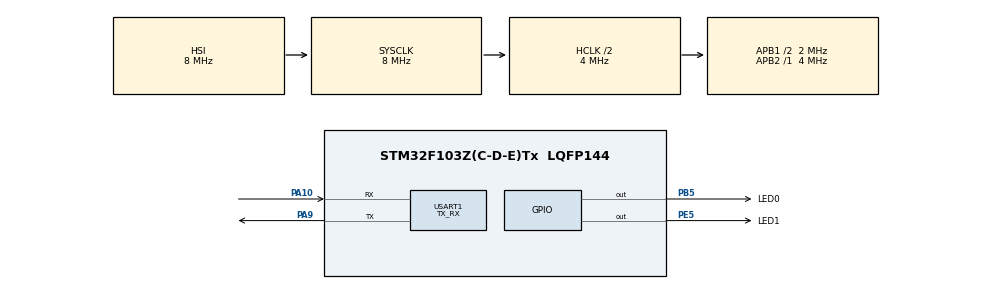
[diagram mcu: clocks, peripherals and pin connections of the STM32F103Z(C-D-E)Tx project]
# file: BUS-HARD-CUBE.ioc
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Mcu.Family=STM32F1
PB5.GPIO_ModeDefaultOutputPP=GPIO_MODE_OUTPUT_PP
Dma.USART1_TX.1.Instance=DMA1_Channel4
NVIC.DMA1_Channel5_IRQn=true\:0\:0\:false\:false\:true\:false\:true
Dma.USART1_RX.0.PeriphDataAlignment=DMA_PDATAALIGN_BYTE
PA10.Mode=Asynchronous
Dma.USART1_TX.1.MemInc=DMA_MINC_ENABLE
RCC.APB1CLKDivider=RCC_HCLK_DIV2
ProjectManager.StackSize=0x400
PA13.Signal=SYS_JTMS-SWDIO
PA9.Mode=Asynchronous
PE5.GPIO_PuPd=GPIO_PULLDOWN
ProjectManager.TargetToolchain=STM32CubeIDE
Dma.USART1_RX.0.Direction=DMA_PERIPH_TO_MEMORY
RCC.HCLKFreq_Value=4000000
RCC.APB2TimFreq_Value=4000000
PA9.Signal=USART1_TX
OSC_IN.Signal=RCC_OSC_IN
PE5.Signal=GPIO_Output
RCC.USBFreq_Value=8000000
OSC_OUT.Mode=HSE-External-Oscillator
OSC_OUT.Signal=RCC_OSC_OUT
RCC.AHBFreq_Value=4000000
Dma.USART1_RX.0.PeriphInc=DMA_PINC_DISABLE
Dma.USART1_RX.0.Priority=DMA_PRIORITY_HIGH
Dma.USART1_TX.1.MemDataAlignment=DMA_MDATAALIGN_BYTE
board=custom
RCC.APB2Freq_Value=4000000
USART1.Mode=MODE_TX_RX
PA14.Mode=Serial_Wire
Dma.USART1_RX.0.MemDataAlignment=DMA_MDATAALIGN_BYTE
RCC.AHBCLKDivider=RCC_SYSCLK_DIV2
Dma.USART1_RX.0.MemInc=DMA_MINC_ENABLE
PA13.Mode=Serial_Wire
Mcu.Name=STM32F103Z(C-D-E)Tx
Dma.USART1_TX.1.PeriphDataAlignment=DMA_PDATAALIGN_BYTE
RCC.SYSCLKFreq_VALUE=8000000
Mcu.Package=LQFP144
PB5.Signal=GPIO_Output
OSC_IN.Mode=HSE-External-Oscillator
PB5.GPIO_PuPd=GPIO_PULLDOWN
Dma.USART1_TX.1.Mode=DMA_NORMAL
PE5.GPIO_Label=LED1
USART1.VirtualMode=VM_ASYNC
PA10.Signal=USART1_RX
PA14.Signal=SYS_JTCK-SWCLK
ProjectManager.HeapSize=0x200
Dma.USART1_TX.1.PeriphInc=DMA_PINC_DISABLE
PB5.GPIO_Speed=GPIO_SPEED_FREQ_LOW
NVIC.PriorityGroup=NVIC_PRIORITYGROUP_2
PB5.GPIO_Label=LED0
PE5.GPIO_Speed=GPIO_SPEED_FREQ_LOW
Dma.Request1=USART1_TX
RCC.APB1TimFreq_Value=4000000
Dma.USART1_RX.0.Mode=DMA_NORMAL
Dma.USART1_TX.1.Priority=DMA_PRIORITY_MEDIUM
NVIC.DMA1_Channel4_IRQn=true\:0\:1\:false\:false\:true\:false\:true
NVIC.USART1_IRQn=true\:0\:0\:false\:false\:true\:true\:true
Dma.Request0=USART1_RX
RCC.APB1Freq_Value=2000000
Dma.USART1_RX.0.Instance=DMA1_Channel5
NVIC.RCC_IRQn=true\:0\:0\:false\:false\:true\:true\:false
Dma.USART1_TX.1.Direction=DMA_MEMORY_TO_PERIPH

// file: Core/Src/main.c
/* USER CODE BEGIN Header */
/**
  ******************************************************************************
  * @file           : main.c
  * @brief          : Main program body
  ******************************************************************************
  * @attention
  *
  * <h2><center>&copy; Copyright (c) 2021 STMicroelectronics.
  * All rights reserved.</center></h2>
  *
  * This software component is licensed by ST under BSD 3-Clause license,
  * the "License"; You may not use this file except in compliance with the
  * License. You may obtain a copy of the License at:
  *                        opensource.org/licenses/BSD-3-Clause
  *
  ******************************************************************************
  */
/* USER CODE END Header */
#include "main.h"

/* USER CODE BEGIN Includes */
#include "math.h"
#include "stdlib.h"
#include "stdio.h"
#include "string.h"
/* USER CODE END Includes */

/* USER CODE BEGIN PTD */

typedef enum {false = 0,true = 1} bool;

//GNSS NMEA-0183协议重要参数结构体定�????????????
//卫星信息
typedef struct
{
 	uint8_t num;		//卫星编号
	uint8_t eledeg;	//卫星仰角
	uint16_t azideg;	//卫星方位角
	uint8_t sn;		//信噪比
}nmea_slmsg;

//UTC时间信息
typedef struct
{
 	uint16_t year;	//年份
	uint8_t month;	//月份
	uint8_t date;	//日期
	uint8_t hour; 	//小时
	uint8_t min; 	//分钟
	uint8_t sec; 	//秒钟
}nmea_utc_time;

//NMEA 0183 协议解析后数据存放结构体
typedef struct
{
 	uint8_t svnum;					//可见卫星数
	nmea_slmsg slmsg[12];		//最多12颗卫星
	nmea_utc_time utc;			//UTC时间
	uint32_t latitude;				//纬度 分扩大100000倍,实际要除以100000
	uint8_t nshemi;					//北纬/南纬,N:北纬;S:南纬
	uint32_t longitude;			    //经度 分扩大100000倍,实际要除以100000
	uint8_t ewhemi;					//东经/西经,E:东经;W:西经
	uint8_t gnsssta;					//GPS状态:0,未定位;1,非差分定位;2,差分定位;6,正在估算.
 	uint8_t posslnum;				//用于定位的卫星数,0~12.
 	uint8_t possl[12];				//用于定位的卫星编号
	uint8_t fixmode;					//定位类型:1,没有定位;2,2D定位;3,3D定位
	uint16_t pdop;					//位置精度因子 0~500,对应实际值0~50.0
	uint16_t hdop;					//水平精度因子 0~500,对应实际值0~50.0
	uint16_t vdop;					//垂直精度因子 0~500,对应实际值0~50.0

	int altitude;			 	//海拔高度,放大了10倍,实际除以10.单位:0.1m
	uint16_t speed;					//地面速率,放大了1000倍,实际除以10.单位:0.001公里/小时
}nmea_msg;

/* USER CODE END PTD */

/* USER CODE BEGIN PD */
#define USART_REC_LEN  			1200  	//定义�??????大接收字节数 1200
/* USER CODE END PD */

UART_HandleTypeDef huart1;
DMA_HandleTypeDef hdma_usart1_rx;
DMA_HandleTypeDef hdma_usart1_tx;

/* USER CODE BEGIN PV */
uint8_t USART_RX_BUF[USART_REC_LEN];     //接收缓冲,�??????大USART_REC_LEN个字�??????.

double pi = 3.14159265358979324;
double a = 6378245.0;
double ee = 0.00669342162296594323;
double x_pi = 3.14159265358979324 * 3000.0 / 180;
int iter = 0;

char n58_sdata[100] = {0};
char n58_sdataLAS[100] = {0};
double InLat=0.0;
double InLon=0.0;
double OutLat=0.0;
double OutLon=0.0;
float Speed;

unsigned short i =0;
unsigned char r =0;

nmea_msg gnssx; //GNSS�????????????
int firstgo=0;
int firstgnss=0;
uint8_t Time1;
uint8_t Time2;
int ret = -1;
/* USER CODE END PV */

void SystemClock_Config(void);
static void MX_GPIO_Init(void);
static void MX_DMA_Init(void);
static void MX_USART1_UART_Init(void);
/* USER CODE BEGIN PFP */
uint8_t NMEA_Comma_Pos(uint8_t *buf,uint8_t cx);
uint32_t NMEA_Pow(uint8_t m,uint8_t n);
int NMEA_Str2num(uint8_t *buf,uint8_t*dx);
void NMEA_GNGSV_Analysis(nmea_msg *gnssx,uint8_t *buf);
void NMEA_GNGGA_Analysis(nmea_msg *gnssx,uint8_t *buf);
void NMEA_GNGSA_Analysis(nmea_msg *gnssx,uint8_t *buf);
void NMEA_GNRMC_Analysis(nmea_msg *gnssx,uint8_t *buf);
void NMEA_GNVTG_Analysis(nmea_msg *gnssx,uint8_t *buf);
void GNSS_Analysis(nmea_msg *gnssx,uint8_t *buf);
void Ublox_CheckSum(uint8_t *buf,uint16_t len,uint8_t* cka,uint8_t*ckb);
int outOfChina(double lat, double lon);
double transformLat(double x, double y);
double transformLon(double x, double y);
int wgs2gcj(double lat, double lon, double* pLat, double* pLon);
int n58_normal_check(char *in_cmd);
int n58_check_sim_card();
int n58_check_cgatt();
int n58_check_creg();
int n58_check_xiic();

/* USER CODE END PFP */

int main(void)
{

  /* MCU Configuration--------------------------------------------------------*/

  /* Reset of all peripherals, Initializes the Flash interface and the Systick. */
  HAL_Init();

  /* Configure the system clock */
  SystemClock_Config();

  /* Initialize all configured peripherals */
  MX_GPIO_Init();
  MX_DMA_Init();
  MX_USART1_UART_Init();
  /* USER CODE BEGIN 2 */
  HAL_UART_Receive_DMA(&huart1,USART_RX_BUF, sizeof(USART_RX_BUF));
  HAL_GPIO_WritePin(GPIOB,GPIO_PIN_5,GPIO_PIN_SET);
  HAL_Delay(10000);
  HAL_GPIO_WritePin(GPIOB,GPIO_PIN_5,GPIO_PIN_RESET);

  first:
  	  firstgo=0;
  	if(firstgo!=0){
  			HAL_Delay(500);

  			n58_normal_check("AT+XIIC=0\r\n");

  			HAL_Delay(500);

  			n58_normal_check("AT+CGATT=0\r\n");
  	}
  	firstgo=1;
  	iter = 0;
      while(iter++ <10) {
          ret = n58_normal_check("AT\r\n");
          if(ret == 0) {
              break;
          }
          HAL_Delay(200);
      }
      if(ret == -1) {
          goto first ;
      }
      HAL_Delay(150);

      iter = 0;
      while(iter++ <10) {
          ret = n58_normal_check("ATE0\r\n");
          if(ret == 0) {
              break;
          }
          HAL_Delay(200);
      }
      if(ret == -1) {
          goto first ;
      }
      HAL_Delay(150);

      iter = 0;
      while(iter++ <10) {
          ret = n58_normal_check("AT+CGSN\r\n");
          if(ret == 0) {
              break;
          }
          HAL_Delay(10);
      }
      if(ret == -1) {
          goto first ;
      }
      HAL_Delay(150);

      iter = 0;
      while(iter++ <10) {
          ret = n58_check_sim_card();
          if(ret == 0) {
              break;
          }
          HAL_Delay(200);
      }
      if(ret == -1) {
          goto first;
      }
      HAL_Delay(150);

      iter = 0;
      while(iter++ <10) {
          ret = n58_normal_check("AT+CIMI\r\n");
          if(ret == 0) {
              break;
          }
          HAL_Delay(200);
      }
      if(ret == -1) {
          goto first ;
      }
      HAL_Delay(150);

      iter = 0;
      while(iter++ <10) {
          ret = n58_normal_check("AT+CREG=2\r\n");
          if(ret == 0) {
              break;
          }
          HAL_Delay(200);
      }
      if(ret == -1) {
          goto first ;
      }
      HAL_Delay(150);

      iter = 0;
      while(iter++ <10) {
          ret = n58_check_creg();
          if(ret == 0) {
              break;
          }
          HAL_Delay(200);
      }
      if(ret == -1) {
          goto first ;
      }

      HAL_Delay(150);
      iter = 0;
      while(iter++ <10) {
          ret = n58_normal_check("AT+CREG=0\r\n");
          if(ret == 0) {
              break;
          }
          HAL_Delay(200);
      }
      if(ret == -1) {
          goto first ;
      }
      HAL_Delay(150);

      iter = 0;
      while(iter++ <10) {
          ret = n58_normal_check("AT+CGATT=1\r\n");
          if(ret == 0) {
              break;
          }
          HAL_Delay(200);
      }
      if(ret == -1) {
          goto first ;
      }
      HAL_Delay(150);

      iter = 0;
      while(iter++ <10) {
          ret = n58_check_cgatt();
          if(ret == 0) {
              break;
          }
          HAL_Delay(200);
      }
      if(ret == -1) {
          goto first;
      }
      HAL_Delay(150);

      iter = 0;
      while(iter++ <10) {
          ret = n58_normal_check("AT+CGDCONT=1,\"IP\", \"CMIOT\"\r\n");
          if(ret == 0) {
              break;
          }
          HAL_Delay(200);
      }
      if(ret == -1) {
          goto first ;
      }
      HAL_Delay(150);

      iter = 0;
      while(iter++ <10) {
          ret = n58_normal_check("AT+XIIC=1\r\n");
          if(ret == 0) {
              break;
          }
          HAL_Delay(200);
      }
      if(ret == -1) {
          goto first ;
      }
      HAL_Delay(150);

      iter = 0;
      while(iter++ <100) {
          ret = n58_check_xiic();
          if(ret == 0) {
              break;
          }
          HAL_Delay(200);
      }

      if(ret == -1) {
          goto first ;
      }

      HAL_Delay(150);
      iter = 0;
      while(iter++ <10) {
          ret = n58_normal_check("AT+HTTPSCFG=\"sslversion\",3\r\n");
          if(ret == 0) {
              break;
          }
          HAL_Delay(200);
      }
      if(ret == -1) {
          goto first ;
      }

      HAL_Delay(150);
      iter = 0;
      while(iter++ <10) {
          ret = n58_normal_check("AT+HTTPSCFG =\"authmode\",0\r\n");
          if(ret == 0) {
              break;
          }
          HAL_Delay(200);
      }
      if(ret == -1) {
          goto first ;
      }

  		HAL_Delay(150);
      iter = 0;
      while(iter++ <10) {
          ret = n58_normal_check("AT$MYGPSPWR=1\r\n");
          if(ret == 0) {
              break;
          }
          HAL_Delay(1000);
      }
      if(ret == -1) {
          goto first ;
      }
  	HAL_Delay(150);

    iter = 0;
    while(iter++ <10) {
        ret = n58_normal_check("AT$MYGNSSSEL=0\r\n");
        if(ret == 0) {
            break;
        }
        HAL_Delay(200);
    }
    if(ret == -1) {
        goto first;
    }
  	HAL_Delay(150);

      iter = 0;
      while(iter++ <10) {
          ret = n58_normal_check("AT+HTTPSPARA=url,\"bus.bitworkshop.cn/bus/position\"\r\n");
          if(ret == 0) {
              break;
          }
          HAL_Delay(200);
      }
      if(ret == -1) {
          goto first ;
      }
      HAL_GPIO_WritePin(GPIOB,GPIO_PIN_5,GPIO_PIN_SET);
  /* USER CODE END 2 */

  /* Infinite loop */
  while (1)
  {

    /* USER CODE BEGIN 3 */

	  		HAL_GPIO_WritePin(GPIOE,GPIO_PIN_5,GPIO_PIN_RESET);
	  			GNSSopen:
				HAL_Delay(1000);
	  			memset(USART_RX_BUF, 0, sizeof(USART_RX_BUF));
	  		    HAL_UART_DMAStop(&huart1);
	  		    HAL_UART_Receive_DMA(&huart1,USART_RX_BUF, sizeof(USART_RX_BUF));
	  			strcpy((char *)n58_sdata,"AT$MYGNSSMSG\r\n");
	  			HAL_UART_Transmit_DMA(&huart1, (uint8_t*)n58_sdata,strlen(n58_sdata));//发�??
	  			HAL_Delay(1000);
	  			GNSS_Analysis(&gnssx,USART_RX_BUF);//GNSS分析
	  			Speed=gnssx.speed;								//速度
	  			InLon=gnssx.longitude;
	  			InLat=gnssx.latitude;			//经纬
	  			wgs2gcj(InLat/100000,InLon/100000, &OutLat,&OutLon);  //坐标系转�??????
	  			if(OutLat==0.0||OutLon==0.0)
	  					{ firstgnss=1;goto GNSSopen;}

	  			HAL_GPIO_WritePin(GPIOE,GPIO_PIN_5,GPIO_PIN_SET);
	  			HAL_Delay (100);
	  			i=0;
	  			memset(n58_sdata, 0, sizeof(n58_sdata));
	  			strcpy((char *)n58_sdata,"AT+HTTPSCLOSE\r\n");
	  			HAL_UART_Transmit_DMA(&huart1, (uint8_t*)n58_sdata,strlen(n58_sdata));//�??????

	  			memset(USART_RX_BUF, 0, sizeof(USART_RX_BUF));
	  		    HAL_UART_DMAStop(&huart1);
	  		    HAL_UART_Receive_DMA(&huart1,USART_RX_BUF, sizeof(USART_RX_BUF));

	  		    memset(n58_sdata, 0, sizeof(n58_sdata));
	  			strcpy((char *)n58_sdata,"AT+HTTPSSETUP\r\n");
	  			HAL_UART_Transmit_DMA(&huart1, (uint8_t*)n58_sdata,strlen(n58_sdata));//�??????

	  			SETUP:

	  					if(i<500)
	  						{
	  							HAL_Delay (10);
	  							if(!strstr((char*)USART_RX_BUF, "OK"))
	  							{
	  								i++;
	  								goto SETUP;
	  							}
	  							else{i=0;goto next;	}
	  						}

	  				else
	  				{
	  					i=0;
	  					memset(USART_RX_BUF, 0, sizeof(USART_RX_BUF));
	  				    HAL_UART_DMAStop(&huart1);
	  				    HAL_UART_Receive_DMA(&huart1,USART_RX_BUF, sizeof(USART_RX_BUF));
	  		  			strcpy((char *)n58_sdata,"AT+HTTPSCLOSE\r\n");
	  		  			HAL_UART_Transmit_DMA(&huart1, (uint8_t*)n58_sdata,strlen(n58_sdata));//�??????
	  					goto first;
	  				}

	  				next:

	  					HAL_Delay (300);
	  				memset(n58_sdataLAS, 0, sizeof(n58_sdataLAS));
	  				sprintf((char *)n58_sdataLAS,"{\"i\":\"606c7c1a25985565e23f18a7\",\"p\":{\"la\":%.6f,\"lo\":%.6f},\"s\":%.2f}\r\n",OutLat,OutLon,Speed/=1000);//OutLat,OutLon  InLatb/100000,InLonb/100000

	  				memset(n58_sdata, 0, sizeof(n58_sdata));
	  				sprintf((char *)n58_sdata,"AT+HTTPSACTION=2,%d,2\r\n",strlen(n58_sdataLAS)-2);//OutLat,OutLon  InLatb/100000,InLonb/100000

	  				memset(USART_RX_BUF, 0, sizeof(USART_RX_BUF));
	  			    HAL_UART_DMAStop(&huart1);
	  			    HAL_UART_Receive_DMA(&huart1,USART_RX_BUF, sizeof(USART_RX_BUF));
	  				HAL_UART_Transmit_DMA(&huart1, (uint8_t*)n58_sdata,strlen(n58_sdata));//发�??
	  				//user_send_data(n58_sdata);//发�?�请�????????????2
	  				HAL_Delay (100);
	  				SETUP2:

  					if(i<100)
  						{
  							HAL_Delay (10);

  							if(!strstr((char*)USART_RX_BUF, ">"))
  							{
  								i++;

  								goto SETUP2;
  							}
  							else{i=0;goto next2;}
  						}

  					else
  					{
  						i=0;
  						memset(USART_RX_BUF, 0, sizeof(USART_RX_BUF));
  					    HAL_UART_DMAStop(&huart1);
  					    HAL_UART_Receive_DMA(&huart1,USART_RX_BUF, sizeof(USART_RX_BUF));
  			  			strcpy((char *)n58_sdata,"AT+HTTPSCLOSE\r\n");
  			  			HAL_UART_Transmit_DMA(&huart1, (uint8_t*)n58_sdata,strlen(n58_sdata));//�??????
  						goto first;
  					}
  					next2:
	  				memset(USART_RX_BUF, 0, sizeof(USART_RX_BUF));
	  			    HAL_UART_DMAStop(&huart1);
	  			    HAL_UART_Receive_DMA(&huart1,USART_RX_BUF, sizeof(USART_RX_BUF));
		  			HAL_UART_Transmit_DMA(&huart1, (uint8_t*)n58_sdataLAS,strlen(n58_sdataLAS));//�??????

	  				HAL_Delay (100);
	  				memset(USART_RX_BUF, 0, sizeof(USART_RX_BUF));
	  			    HAL_UART_DMAStop(&huart1);
	  			    HAL_UART_Receive_DMA(&huart1,USART_RX_BUF, sizeof(USART_RX_BUF));

  }
  /* USER CODE END 3 */
}

void SystemClock_Config(void)
{
  RCC_OscInitTypeDef RCC_OscInitStruct = {0};
  RCC_ClkInitTypeDef RCC_ClkInitStruct = {0};

  /** Initializes the RCC Oscillators according to the specified parameters
  * in the RCC_OscInitTypeDef structure.
  */
  RCC_OscInitStruct.OscillatorType = RCC_OSCILLATORTYPE_HSI;
  RCC_OscInitStruct.HSIState = RCC_HSI_ON;
  RCC_OscInitStruct.HSICalibrationValue = RCC_HSICALIBRATION_DEFAULT;
  RCC_OscInitStruct.PLL.PLLState = RCC_PLL_NONE;
  if (HAL_RCC_OscConfig(&RCC_OscInitStruct) != HAL_OK)
  {
    Error_Handler();
  }
  /** Initializes the CPU, AHB and APB buses clocks
  */
  RCC_ClkInitStruct.ClockType = RCC_CLOCKTYPE_HCLK|RCC_CLOCKTYPE_SYSCLK
                              |RCC_CLOCKTYPE_PCLK1|RCC_CLOCKTYPE_PCLK2;
  RCC_ClkInitStruct.SYSCLKSource = RCC_SYSCLKSOURCE_HSI;
  RCC_ClkInitStruct.AHBCLKDivider = RCC_SYSCLK_DIV2;
  RCC_ClkInitStruct.APB1CLKDivider = RCC_HCLK_DIV2;
  RCC_ClkInitStruct.APB2CLKDivider = RCC_HCLK_DIV1;

  if (HAL_RCC_ClockConfig(&RCC_ClkInitStruct, FLASH_LATENCY_0) != HAL_OK)
  {
    Error_Handler();
  }
}

static void MX_USART1_UART_Init(void)
{

  huart1.Instance = USART1;
  huart1.Init.BaudRate = 115200;
  huart1.Init.WordLength = UART_WORDLENGTH_8B;
  huart1.Init.StopBits = UART_STOPBITS_1;
  huart1.Init.Parity = UART_PARITY_NONE;
  huart1.Init.Mode = UART_MODE_TX_RX;
  huart1.Init.HwFlowCtl = UART_HWCONTROL_NONE;
  huart1.Init.OverSampling = UART_OVERSAMPLING_16;
  if (HAL_UART_Init(&huart1) != HAL_OK)
  {
    Error_Handler();
  }

}

static void MX_DMA_Init(void)
{

  /* DMA controller clock enable */
  __HAL_RCC_DMA1_CLK_ENABLE();

  /* DMA interrupt init */
  /* DMA1_Channel4_IRQn interrupt configuration */
  HAL_NVIC_SetPriority(DMA1_Channel4_IRQn, 0, 1);
  HAL_NVIC_EnableIRQ(DMA1_Channel4_IRQn);
  /* DMA1_Channel5_IRQn interrupt configuration */
  HAL_NVIC_SetPriority(DMA1_Channel5_IRQn, 0, 0);
  HAL_NVIC_EnableIRQ(DMA1_Channel5_IRQn);

}

static void MX_GPIO_Init(void)
{
  GPIO_InitTypeDef GPIO_InitStruct = {0};

  /* GPIO Ports Clock Enable */
  __HAL_RCC_GPIOE_CLK_ENABLE();
  __HAL_RCC_GPIOA_CLK_ENABLE();
  __HAL_RCC_GPIOB_CLK_ENABLE();

  /*Configure GPIO pin Output Level */
  HAL_GPIO_WritePin(LED1_GPIO_Port, LED1_Pin, GPIO_PIN_RESET);

  /*Configure GPIO pin Output Level */
  HAL_GPIO_WritePin(LED0_GPIO_Port, LED0_Pin, GPIO_PIN_RESET);

  /*Configure GPIO pin : LED1_Pin */
  GPIO_InitStruct.Pin = LED1_Pin;
  GPIO_InitStruct.Mode = GPIO_MODE_OUTPUT_PP;
  GPIO_InitStruct.Pull = GPIO_PULLDOWN;
  GPIO_InitStruct.Speed = GPIO_SPEED_FREQ_LOW;
  HAL_GPIO_Init(LED1_GPIO_Port, &GPIO_InitStruct);

  /*Configure GPIO pin : LED0_Pin */
  GPIO_InitStruct.Pin = LED0_Pin;
  GPIO_InitStruct.Mode = GPIO_MODE_OUTPUT_PP;
  GPIO_InitStruct.Pull = GPIO_PULLDOWN;
  GPIO_InitStruct.Speed = GPIO_SPEED_FREQ_LOW;
  HAL_GPIO_Init(LED0_GPIO_Port, &GPIO_InitStruct);

}

/* USER CODE BEGIN 4 */

uint8_t NMEA_Comma_Pos(uint8_t *buf,uint8_t cx)
{
	uint8_t *p=buf;
	while(cx)
	{
		if(*buf=='*'||*buf<' '||*buf>'z')return 0XFF;//遇到'*'或者非法字符,则不存在第cx个逗号
		if(*buf==',')cx--;
		buf++;
	}
	return buf-p;
}

//m^n函数
//返回�????????????:m^n次方.
uint32_t NMEA_Pow(uint8_t m,uint8_t n)
{
	uint32_t result=1;
	while(n--)result*=m;
	return result;
}

//str转换为数�????????????,�????????????','或�??'*'结束
//buf:数字存储�????????????
//dx:小数点位�????????????,返回给调用函�????????????
//返回�????????????:转换后的数�??
int NMEA_Str2num(uint8_t *buf,uint8_t*dx)
{
	uint8_t *p=buf;
	uint32_t ires=0,fres=0;
	uint8_t ilen=0,flen=0,i;
	uint8_t mask=0;
	int res;
	while(1) //得到整数和小数的长度
	{
		if(*p=='-'){mask|=0X02;p++;}//是负�????????????
		if(*p==','||(*p=='*'))break;//遇到结束�????????????
		if(*p=='.'){mask|=0X01;p++;}//遇到小数点了
		else if(*p>'9'||(*p<'0'))	//有非法字�????????????
		{
			ilen=0;
			flen=0;
			break;
		}
		if(mask&0X01)flen++;
		else ilen++;
		p++;
	}
	if(mask&0X02)buf++;	//去掉负号
	for(i=0;i<ilen;i++)	//得到整数部分数据
	{
		ires+=NMEA_Pow(10,ilen-1-i)*(buf[i]-'0');
	}
	if(flen>8)flen=8;	//�????????????多取8位小�????????????
	*dx=flen;	 		//小数点位�????????????
	for(i=0;i<flen;i++)	//得到小数部分数据
	{
		fres+=NMEA_Pow(10,flen-1-i)*(buf[ilen+1+i]-'0');
	}
	res=ires*NMEA_Pow(10,flen)+fres;
	if(mask&0X02)res=-res;
	return res;
}

//分析GNGSV信息
//gnssx:nmea信息结构�????????????
//buf:接收到的GNSS数据缓冲区首地址
void NMEA_GNGSV_Analysis(nmea_msg *gnssx,uint8_t *buf)
{
	uint8_t *p,*p1,dx;
	uint8_t len,i,j,slx=0;
	uint8_t posx;
	p=buf;
	p1=(uint8_t*)strstr((const char *)p,"&GPGSV");
	len=p1[7]-'0';								//得到GPGSV的条数
	posx=NMEA_Comma_Pos(p1,3); 					//得到可见卫星总数
	if(posx!=0XFF)gnssx->svnum=NMEA_Str2num(p1+posx,&dx);
	for(i=0;i<len;i++)
	{
		p1=(uint8_t*)strstr((const char *)p,"&GPGSV");
		for(j=0;j<4;j++)
		{
			posx=NMEA_Comma_Pos(p1,4+j*4);
			if(posx!=0XFF)gnssx->slmsg[slx].num=NMEA_Str2num(p1+posx,&dx);	//得到卫星编号
			else break;
			posx=NMEA_Comma_Pos(p1,5+j*4);
			if(posx!=0XFF)gnssx->slmsg[slx].eledeg=NMEA_Str2num(p1+posx,&dx);//得到到卫星仰角
			else break;
			posx=NMEA_Comma_Pos(p1,6+j*4);
			if(posx!=0XFF)gnssx->slmsg[slx].azideg=NMEA_Str2num(p1+posx,&dx);//得到卫星方位�????????????
			else break;
			posx=NMEA_Comma_Pos(p1,7+j*4);
			if(posx!=0XFF)gnssx->slmsg[slx].sn=NMEA_Str2num(p1+posx,&dx);	//得到卫星信噪�????????????
			else break;
			slx++;
		}
 		p=p1+1;//切换到下�????????????个GNGSV信息
	}
}

//分析GNGGA信息
//gnssx:nmea信息结构�????????????
//buf:接收到的GNSS数据缓冲区首地址
void NMEA_GNGGA_Analysis(nmea_msg *gnssx,uint8_t *buf)
{
	uint8_t *p1,dx;
	uint8_t posx;
	p1=(uint8_t*)strstr((const char *)buf,"$GNGGA");
	posx=NMEA_Comma_Pos(p1,6);								//得到GNSS状�??
	if(posx!=0XFF)gnssx->gnsssta=NMEA_Str2num(p1+posx,&dx);
	posx=NMEA_Comma_Pos(p1,7);								//得到用于定位的卫星数
	if(posx!=0XFF)gnssx->posslnum=NMEA_Str2num(p1+posx,&dx);
	posx=NMEA_Comma_Pos(p1,9);								//得到海拔高度
	if(posx!=0XFF)gnssx->altitude=NMEA_Str2num(p1+posx,&dx);
}

//分析GNGSA信息
//gnssx:nmea信息结构�????????????
//buf:接收到的GNSS数据缓冲区首地址
void NMEA_GNGSA_Analysis(nmea_msg *gnssx,uint8_t *buf)
{
	uint8_t *p1,dx;
	uint8_t posx;
	uint8_t i;
	p1=(uint8_t*)strstr((const char *)buf,"$GNGSA");
	posx=NMEA_Comma_Pos(p1,2);								//得到定位类型
	if(posx!=0XFF)gnssx->fixmode=NMEA_Str2num(p1+posx,&dx);
	for(i=0;i<12;i++)										//得到定位卫星编号
	{
		posx=NMEA_Comma_Pos(p1,3+i);
		if(posx!=0XFF)gnssx->possl[i]=NMEA_Str2num(p1+posx,&dx);
		else break;
	}
	posx=NMEA_Comma_Pos(p1,15);								//得到PDOP位置精度因子
	if(posx!=0XFF)gnssx->pdop=NMEA_Str2num(p1+posx,&dx);
	posx=NMEA_Comma_Pos(p1,16);								//得到HDOP位置精度因子
	if(posx!=0XFF)gnssx->hdop=NMEA_Str2num(p1+posx,&dx);
	posx=NMEA_Comma_Pos(p1,17);								//得到VDOP位置精度因子
	if(posx!=0XFF)gnssx->vdop=NMEA_Str2num(p1+posx,&dx);
}

//分析GNRMC信息
//gnssx:nmea信息结构�????????????
//buf:接收到的GNSS数据缓冲区首地址
void NMEA_GNRMC_Analysis(nmea_msg *gnssx,uint8_t *buf)
{
	uint8_t *p1,dx;
	uint8_t posx;
	uint32_t temp;
	float rs;
	p1=(uint8_t*)strstr((const char *)buf,"GNRMC");//"$GNRMC",经常�????????????&和GNRMC分开的情�????????????,故只判断GNRMC.
	posx=NMEA_Comma_Pos(p1,1);								//得到UTC时间
	if(posx!=0XFF)
	{
		temp=NMEA_Str2num(p1+posx,&dx)/NMEA_Pow(10,dx);	 	//得到UTC时间,去掉ms
		gnssx->utc.hour=temp/10000;
		gnssx->utc.min=(temp/100)%100;
		gnssx->utc.sec=temp%100;
	}
	posx=NMEA_Comma_Pos(p1,3);								//得到纬度
	if(posx!=0XFF)
	{
		temp=NMEA_Str2num(p1+posx,&dx);
		gnssx->latitude=temp/NMEA_Pow(10,dx+2);	//得到°
		rs=temp%NMEA_Pow(10,dx+2);				//得到'
		gnssx->latitude=gnssx->latitude*NMEA_Pow(10,5)+(rs*NMEA_Pow(10,5-dx))/60;//转换为�?
	}
	posx=NMEA_Comma_Pos(p1,4);								//南纬还是北纬
	if(posx!=0XFF)gnssx->nshemi=*(p1+posx);
 	posx=NMEA_Comma_Pos(p1,5);								//得到经度
	if(posx!=0XFF)
	{
		temp=NMEA_Str2num(p1+posx,&dx);
		gnssx->longitude=temp/NMEA_Pow(10,dx+2);	//得到°
		rs=temp%NMEA_Pow(10,dx+2);				//得到'
		gnssx->longitude=gnssx->longitude*NMEA_Pow(10,5)+(rs*NMEA_Pow(10,5-dx))/60;//转换为�?
	}
	posx=NMEA_Comma_Pos(p1,6);								//东经还是西经
	if(posx!=0XFF)gnssx->ewhemi=*(p1+posx);
	posx=NMEA_Comma_Pos(p1,9);								//得到UTC日期
	if(posx!=0XFF)
	{
		temp=NMEA_Str2num(p1+posx,&dx);		 				//得到UTC日期
		gnssx->utc.date=temp/10000;
		gnssx->utc.month=(temp/100)%100;
		gnssx->utc.year=2000+temp%100;
	}
}

//分析GNVTG信息
//gnssx:nmea信息结构�????????????
//buf:接收到的GNSS数据缓冲区首地址
void NMEA_GNVTG_Analysis(nmea_msg *gnssx,uint8_t *buf)
{
	uint8_t *p1,dx;
	uint8_t posx;
	p1=(uint8_t*)strstr((const char *)buf,"$GNVTG");
	posx=NMEA_Comma_Pos(p1,7);								//得到地面速率
	if(posx!=0XFF)
	{
		gnssx->speed=NMEA_Str2num(p1+posx,&dx);
		if(dx<3)gnssx->speed*=NMEA_Pow(10,3-dx);	 	 		//确保扩大1000
	}
}

//提取NMEA-0183信息
//gnssx:nmea信息结构�????????????
//buf:接收到的GNSS数据缓冲区首地址
void GNSS_Analysis(nmea_msg *gnssx,uint8_t *buf)
{
//	NMEA_GNGSV_Analysis(gnssx,buf);	//GNGSV解析
	NMEA_GNGGA_Analysis(gnssx,buf);	//GNGGA解析
	NMEA_GNGSA_Analysis(gnssx,buf);	//GNGSA解析
	NMEA_GNRMC_Analysis(gnssx,buf);	//GNRMC解析
	NMEA_GNVTG_Analysis(gnssx,buf);	//GNVTG解析
}

//GNSS校验和计�????????????
//buf:数据缓存区首地址
//len:数据长度
//cka,ckb:两个校验结果.
void Ublox_CheckSum(uint8_t *buf,uint16_t len,uint8_t* cka,uint8_t*ckb)
{
	uint16_t i;
	*cka=0;*ckb=0;
	for(i=0;i<len;i++)
	{
		*cka=*cka+buf[i];
		*ckb=*ckb+*cka;
	}
}

int outOfChina(double lat, double lon) {
    if (lon < 72.004 || lon > 137.8347)
        return true;
    if (lat < 0.8293 || lat > 55.8271)
        return true;
    return false;
}

// 纬度偏移�????????????
double transformLat(double x, double y) {
       double ret = 0.0;
       ret = -100.0 + 2.0 * x + 3.0 * y + 0.2 * y * y + 0.1 * x * y + 0.2 * sqrt(fabs(x));
       ret += (20.0 * sin(6.0 * x * pi) + 20.0 * sin(2.0 * x * pi)) * 2.0 / 3.0;
       ret += (20.0 * sin(y * pi) + 40.0 * sin(y / 3.0 * pi)) * 2.0 / 3.0;
       ret += (160.0 * sin(y / 12.0 * pi) + 320 * sin(y * pi  / 30.0)) * 2.0 / 3.0;
       return ret;
}

// 经度偏移�????????????
double transformLon(double x, double y) {
       double ret = 0.0;
       ret = 300.0 + x + 2.0 * y + 0.1 * x * x + 0.1 * x * y + 0.1 * sqrt(fabs(x));
       ret += (20.0 * sin(6.0 * x * pi) + 20.0 * sin(2.0 * x * pi)) * 2.0 / 3.0;
       ret += (20.0 * sin(x * pi) + 40.0 * sin(x / 3.0 * pi)) * 2.0 / 3.0;
       ret += (150.0 * sin(x / 12.0 * pi) + 300.0 * sin(x / 30.0 * pi)) * 2.0 / 3.0;
       return ret;
}

int wgs2gcj(double lat, double lon, double* pLat, double* pLon) {
    if (outOfChina(lat,lon))
    {
        *pLat = lat;
        *pLon = lon;
        return 0;
    }
   double dLat = transformLat(lon - 105.0, lat - 35.0);
   double dLon = transformLon(lon - 105.0, lat - 35.0);
   double radLat = lat / 180.0 * pi;
   double magic = sin(radLat);
   magic = 1 - ee * magic * magic;
   double sqrtMagic = sqrt(magic);
   dLat = (dLat * 180.0) / ((a * (1 - ee)) / (magic * sqrtMagic) * pi);
   dLon = (dLon * 180.0) / (a / sqrtMagic * cos(radLat) * pi);
   *pLat = lat + dLat;
   *pLon = lon + dLon;
   return 0;
}

int n58_normal_check(char *in_cmd) {

	memset(USART_RX_BUF, 0, sizeof(USART_RX_BUF));
    HAL_UART_DMAStop(&huart1);
    HAL_UART_Receive_DMA(&huart1,USART_RX_BUF, sizeof(USART_RX_BUF));
	HAL_UART_Transmit_DMA(&huart1, (uint8_t*)in_cmd,strlen(in_cmd));//�??????
	HAL_Delay(500);
    if(strstr((char *)USART_RX_BUF, "OK") != NULL) {
        return 0;
    }
    return -1;
}

int n58_check_sim_card() {
	memset(USART_RX_BUF, 0, sizeof(USART_RX_BUF));
    HAL_UART_DMAStop(&huart1);
    HAL_UART_Receive_DMA(&huart1,USART_RX_BUF, sizeof(USART_RX_BUF));
	strcpy((char *)n58_sdata,"AT+CPIN?\r\n");
	HAL_UART_Transmit_DMA(&huart1, (uint8_t*)n58_sdata,strlen(n58_sdata));//�??????
	HAL_Delay(500);
    if(strstr((char *)USART_RX_BUF, "READY") != NULL) {
        return 0;
    }
    return -1;
}

int n58_check_cgatt() {
	memset(USART_RX_BUF, 0, sizeof(USART_RX_BUF));
    HAL_UART_DMAStop(&huart1);
    HAL_UART_Receive_DMA(&huart1,USART_RX_BUF, sizeof(USART_RX_BUF));
	strcpy((char *)n58_sdata,"AT+CGATT?\r\n");
	HAL_UART_Transmit_DMA(&huart1, (uint8_t*)n58_sdata,strlen(n58_sdata));
	HAL_Delay(500);
    if(strstr((char *)USART_RX_BUF, "CGATT: 1") != NULL) {
        return 0;
    }
    return -1;
}

int n58_check_creg() {
	memset(USART_RX_BUF, 0, sizeof(USART_RX_BUF));
    HAL_UART_DMAStop(&huart1);
    HAL_UART_Receive_DMA(&huart1,USART_RX_BUF, sizeof(USART_RX_BUF));
	strcpy((char *)n58_sdata,"AT+CREG?\r\n");
	HAL_UART_Transmit_DMA(&huart1, (uint8_t*)n58_sdata,strlen(n58_sdata));
	HAL_Delay(500);
    if(strstr((char *)USART_RX_BUF, "CREG: 2") != NULL) {
        return 0;
    }
    return -1;
}

int n58_check_xiic() {
	memset(USART_RX_BUF, 0, sizeof(USART_RX_BUF));
    HAL_UART_DMAStop(&huart1);
    HAL_UART_Receive_DMA(&huart1,USART_RX_BUF, sizeof(USART_RX_BUF));
	strcpy((char *)n58_sdata,"AT+XIIC?\r\n");
	HAL_UART_Transmit_DMA(&huart1, (uint8_t*)n58_sdata,strlen(n58_sdata));
	HAL_Delay(500);
    if(strstr((char *)USART_RX_BUF, "+XIIC:    1") != NULL) {
        return 0;
    }
    return -1;
}

//void HAL_UART_RxCpltCallback(UART_HandleTypeDef *huart)
//
//{
//    if(huart->Instance == USART1)
//
//    {
//    //	HAL_UART_DMAResume(&huart1);
//    	HAL_GPIO_TogglePin(LED1_GPIO_Port, LED1_Pin);
//    }
//}

/* USER CODE END 4 */

void Error_Handler(void)
{
  __disable_irq();
  while (1)
  {
  }
}

/************************ (C) COPYRIGHT STMicroelectronics *****END OF FILE****/
